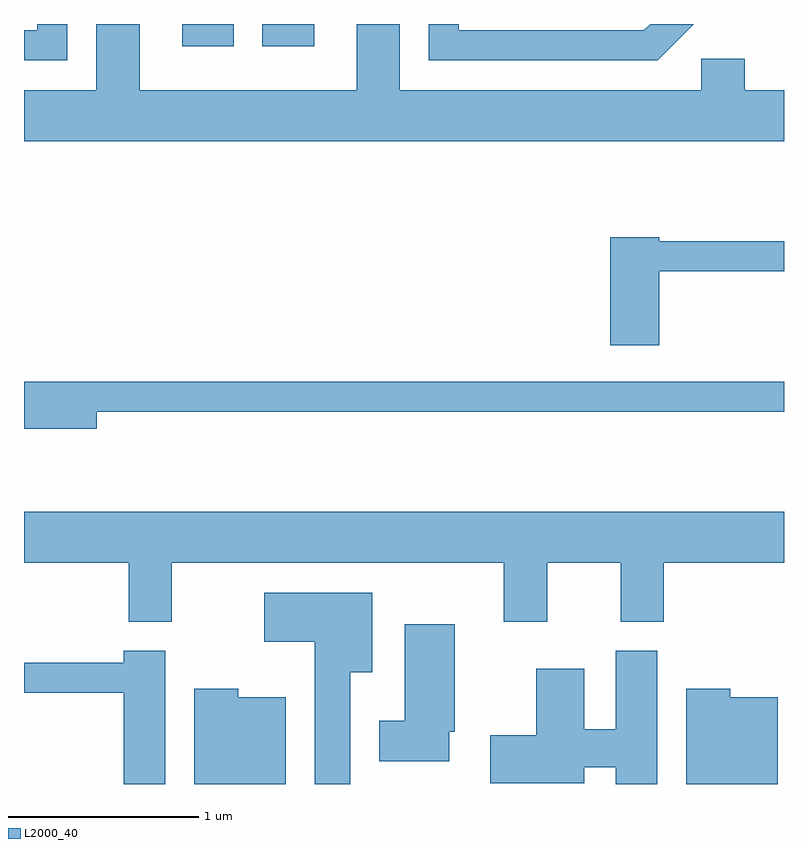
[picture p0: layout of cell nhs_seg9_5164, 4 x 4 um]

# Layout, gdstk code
import gdstk
lib = gdstk.Library(unit=1e-6, precision=1e-09)
def R(c, l, rs):  # rectangles x0, y0, x1, y1
    for r in rs: c.add(gdstk.rectangle(r[:2], r[2:], *l))
def P(c, l, *ps):  # polygons
    for p in ps: c.add(gdstk.Polygon(p, *l))
L2000_40 = (2000, 40)

nhs_seg9_5164 = lib.new_cell('nhs_seg9_5164')
R(nhs_seg9_5164, L2000_40, [(338.443,1992.316,338.714,1992.432), (338.866,1992.316,339.138,1992.432)])
P(nhs_seg9_5164, L2000_40, [(341.611,1992.084),(341.404,1992.084),(341.404,1992.249),(341.176,1992.249),(341.176,1992.084),(339.589,1992.084),(339.589,1992.432),(339.361,1992.432),(339.361,1992.084),(338.219,1992.084),(338.219,1992.432),(337.991,1992.432),(337.991,1992.084),(337.611,1992.084),(337.611,1991.816),(341.611,1991.816)],
  [(341.137,1992.432),(340.907,1992.432),(340.874,1992.399),(339.899,1992.399),(339.899,1992.432),(339.741,1992.432),(339.741,1992.241),(340.947,1992.241)],
  [(337.839,1992.432),(337.681,1992.432),(337.681,1992.399),(337.611,1992.399),(337.611,1992.241),(337.839,1992.241)],
  [(340.954,1991.131),(341.611,1991.131),(341.611,1991.289),(340.954,1991.289),(340.954,1991.309),(340.696,1991.309),(340.696,1990.741),(340.954,1990.741)],
  [(337.994,1990.391),(341.611,1990.391),(341.611,1990.549),(337.611,1990.549),(337.611,1990.301),(337.994,1990.301)],
  [(337.611,1989.596),(338.161,1989.596),(338.161,1989.286),(338.389,1989.286),(338.389,1989.596),(340.136,1989.596),(340.136,1989.286),(340.364,1989.286),(340.364,1989.596),(340.751,1989.596),(340.751,1989.286),(340.979,1989.286),(340.979,1989.596),(341.611,1989.596),(341.611,1989.864),(337.611,1989.864)],
  [(339.329,1989.021),(339.444,1989.021),(339.444,1989.439),(338.876,1989.439),(338.876,1989.181),(339.141,1989.181),(339.141,1988.432),(339.329,1988.432)],
  [(339.849,1988.706),(339.879,1988.706),(339.879,1989.274),(339.616,1989.274),(339.616,1988.764),(339.481,1988.764),(339.481,1988.551),(339.849,1988.551)],
  [(338.354,1989.134),(338.136,1989.134),(338.136,1989.069),(337.611,1989.069),(337.611,1988.911),(338.136,1988.911),(338.136,1988.432),(338.354,1988.432)],
  [(340.944,1989.134),(340.726,1989.134),(340.726,1988.719),(340.559,1988.719),(340.559,1989.039),(340.306,1989.039),(340.306,1988.689),(340.066,1988.689),(340.066,1988.436),(340.559,1988.436),(340.559,1988.521),(340.726,1988.521),(340.726,1988.432),(340.944,1988.432)],
  [(341.579,1988.889),(341.329,1988.889),(341.329,1988.934),(341.096,1988.934),(341.096,1988.432),(341.579,1988.432)],
  [(338.989,1988.889),(338.739,1988.889),(338.739,1988.934),(338.506,1988.934),(338.506,1988.432),(338.989,1988.432)])

lib.write_gds('nhs_seg9_5164.gds')
